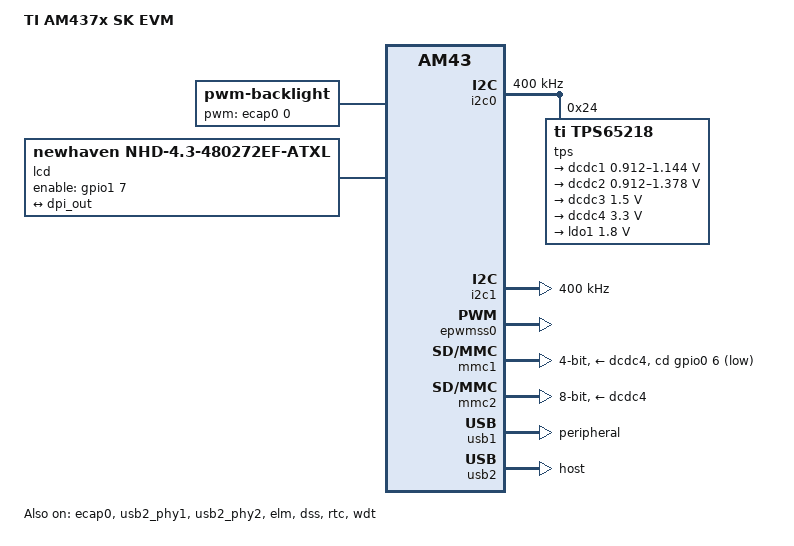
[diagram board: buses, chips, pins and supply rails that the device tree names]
/*
 * Copyright (C) 2014 Texas Instruments Incorporated - http://www.ti.com/
 *
 * This program is free software; you can redistribute it and/or modify
 * it under the terms of the GNU General Public License version 2 as
 * published by the Free Software Foundation.
 */

/* AM437x SK EVM */

/dts-v1/;

#include "am4372.dtsi"
#include <dt-bindings/pinctrl/am43xx.h>
#include <dt-bindings/pwm/pwm.h>
#include <dt-bindings/gpio/gpio.h>
#include <dt-bindings/input/input.h>

/ {
	model = "TI AM437x SK EVM";
	compatible = "ti,am437x-sk-evm","ti,am4372","ti,am43";

	aliases {
		display0 = &lcd0;
	};

	chosen {
		stdout-path = &uart0;
		tick-timer = &timer2;
	};

	backlight {
		compatible = "pwm-backlight";
		pwms = <&ecap0 0 50000 PWM_POLARITY_INVERTED>;
		brightness-levels = <0 51 53 56 62 75 101 152 255>;
		default-brightness-level = <8>;
	};


	lcd0: display {
		compatible = "newhaven,nhd-4.3-480272ef-atxl", "panel-dpi";
		label = "lcd";

		pinctrl-names = "default";
		pinctrl-0 = <&lcd_pins>;

		enable-gpios = <&gpio1 7 GPIO_ACTIVE_HIGH>;

		panel-timing {
			clock-frequency = <9000000>;
			hactive = <480>;
			vactive = <272>;
			hfront-porch = <2>;
			hback-porch = <2>;
			hsync-len = <41>;
			vfront-porch = <2>;
			vback-porch = <2>;
			vsync-len = <10>;
			hsync-active = <0>;
			vsync-active = <0>;
			de-active = <1>;
			pixelclk-active = <1>;
		};

		port {
			lcd_in: endpoint {
				remote-endpoint = <&dpi_out>;
			};
		};
	};
};

&am43xx_pinmux {

	i2c0_pins: i2c0_pins {
		pinctrl-single,pins = <
			0x188 (PIN_INPUT | SLEWCTRL_FAST | MUX_MODE0)  /* i2c0_sda.i2c0_sda */
			0x18c (PIN_INPUT | SLEWCTRL_FAST | MUX_MODE0)  /* i2c0_scl.i2c0_scl */
		>;
	};

	i2c1_pins: i2c1_pins {
		pinctrl-single,pins = <
			0x15c (PIN_INPUT | SLEWCTRL_FAST | MUX_MODE2)  /* spi0_cs0.i2c1_scl */
			0x158 (PIN_INPUT | SLEWCTRL_FAST | MUX_MODE2)  /* spi0_d1.i2c1_sda  */
		>;
	};

	mmc1_pins: pinmux_mmc1_pins {
		pinctrl-single,pins = <
			0x0f0 (PIN_INPUT | MUX_MODE0) /* mmc0_dat3.mmc0_dat3 */
			0x0f4 (PIN_INPUT | MUX_MODE0) /* mmc0_dat2.mmc0_dat2 */
			0x0f8 (PIN_INPUT | MUX_MODE0) /* mmc0_dat1.mmc0_dat1 */
			0x0fc (PIN_INPUT | MUX_MODE0) /* mmc0_dat0.mmc0_dat0 */
			0x100 (PIN_INPUT | MUX_MODE0) /* mmc0_clk.mmc0_clk */
			0x104 (PIN_INPUT | MUX_MODE0) /* mmc0_cmd.mmc0_cmd */
			0x160 (PIN_INPUT | MUX_MODE7) /* spi0_cs1.gpio0_6 */
		>;
	};

	ecap0_pins: backlight_pins {
		pinctrl-single,pins = <
			0x164 (PIN_OUTPUT | MUX_MODE0) /* eCAP0_in_PWM0_out.eCAP0_in_PWM0_out */
		>;
	};


	dss_pins: dss_pins {
		pinctrl-single,pins = <
			0x020 (PIN_OUTPUT | MUX_MODE1)	/* gpmc ad 8 -> DSS DATA 23 */
			0x024 (PIN_OUTPUT | MUX_MODE1)
			0x028 (PIN_OUTPUT | MUX_MODE1)
			0x02c (PIN_OUTPUT | MUX_MODE1)
			0x030 (PIN_OUTPUT | MUX_MODE1)
			0x034 (PIN_OUTPUT | MUX_MODE1)
			0x038 (PIN_OUTPUT | MUX_MODE1)
			0x03c (PIN_OUTPUT | MUX_MODE1)	/* gpmc ad 15 -> DSS DATA 16 */
			0x0a0 (PIN_OUTPUT | MUX_MODE0)	/* DSS DATA 0 */
			0x0a4 (PIN_OUTPUT | MUX_MODE0)
			0x0a8 (PIN_OUTPUT | MUX_MODE0)
			0x0ac (PIN_OUTPUT | MUX_MODE0)
			0x0b0 (PIN_OUTPUT | MUX_MODE0)
			0x0b4 (PIN_OUTPUT | MUX_MODE0)
			0x0b8 (PIN_OUTPUT | MUX_MODE0)
			0x0bc (PIN_OUTPUT | MUX_MODE0)
			0x0c0 (PIN_OUTPUT | MUX_MODE0)
			0x0c4 (PIN_OUTPUT | MUX_MODE0)
			0x0c8 (PIN_OUTPUT | MUX_MODE0)
			0x0cc (PIN_OUTPUT | MUX_MODE0)
			0x0d0 (PIN_OUTPUT | MUX_MODE0)
			0x0d4 (PIN_OUTPUT | MUX_MODE0)
			0x0d8 (PIN_OUTPUT | MUX_MODE0)
			0x0dc (PIN_OUTPUT | MUX_MODE0)	/* DSS DATA 15 */
			0x0e0 (PIN_OUTPUT | MUX_MODE0)	/* DSS VSYNC */
			0x0e4 (PIN_OUTPUT | MUX_MODE0)	/* DSS HSYNC */
			0x0e8 (PIN_OUTPUT | MUX_MODE0)	/* DSS PCLK */
			0x0ec (PIN_OUTPUT | MUX_MODE0)	/* DSS AC BIAS EN */

		>;
	};


	lcd_pins: lcd_pins {
		pinctrl-single,pins = <
			0x1c (PIN_OUTPUT_PULLDOWN | MUX_MODE7) /* gpcm_ad7.gpio1_7 */
		>;
	};

	usb1_pins: usb1_pins {
		pinctrl-single,pins = <
			0x2c0 (PIN_OUTPUT | MUX_MODE0) /* usb0_drvvbus.usb0_drvvbus */
		>;
	};

	usb2_pins: usb2_pins {
		pinctrl-single,pins = <
			0x2c4 (PIN_OUTPUT | MUX_MODE0) /* usb0_drvvbus.usb0_drvvbus */
		>;
	};
};

&i2c0 {
	status = "okay";
	pinctrl-names = "default";
	pinctrl-0 = <&i2c0_pins>;
	clock-frequency = <400000>;

	tps@24 {
		compatible = "ti,tps65218";
		reg = <0x24>;
		interrupts = <GIC_SPI 7 IRQ_TYPE_LEVEL_HIGH>;
		interrupt-controller;
		#interrupt-cells = <2>;

		dcdc1: regulator-dcdc1 {
			compatible = "ti,tps65218-dcdc1";
			/* VDD_CORE limits min of OPP50 and max of OPP100 */
			regulator-name = "vdd_core";
			regulator-min-microvolt = <912000>;
			regulator-max-microvolt = <1144000>;
			regulator-boot-on;
			regulator-always-on;
		};

		dcdc2: regulator-dcdc2 {
			compatible = "ti,tps65218-dcdc2";
			/* VDD_MPU limits min of OPP50 and max of OPP_NITRO */
			regulator-name = "vdd_mpu";
			regulator-min-microvolt = <912000>;
			regulator-max-microvolt = <1378000>;
			regulator-boot-on;
			regulator-always-on;
		};

		dcdc3: regulator-dcdc3 {
			compatible = "ti,tps65218-dcdc3";
			regulator-name = "vdds_ddr";
			regulator-min-microvolt = <1500000>;
			regulator-max-microvolt = <1500000>;
			regulator-boot-on;
			regulator-always-on;
		};

		dcdc4: regulator-dcdc4 {
			compatible = "ti,tps65218-dcdc4";
			regulator-name = "v3_3d";
			regulator-min-microvolt = <3300000>;
			regulator-max-microvolt = <3300000>;
			regulator-boot-on;
			regulator-always-on;
		};

		ldo1: regulator-ldo1 {
			compatible = "ti,tps65218-ldo1";
			regulator-name = "v1_8d";
			regulator-min-microvolt = <1800000>;
			regulator-max-microvolt = <1800000>;
			regulator-boot-on;
			regulator-always-on;
		};

		power-button {
			compatible = "ti,tps65218-pwrbutton";
			status = "okay";
			interrupts = <3 IRQ_TYPE_EDGE_BOTH>;
		};
	};

};

&i2c1 {
	status = "okay";
	pinctrl-names = "default";
	pinctrl-0 = <&i2c1_pins>;
	clock-frequency = <400000>;
};

&epwmss0 {
	status = "okay";
};

&ecap0 {
	status = "okay";
	pinctrl-names = "default";
	pinctrl-0 = <&ecap0_pins>;
};

&gpio0 {
	status = "okay";
};

&gpio1 {
	status = "okay";
};

&gpio5 {
	status = "okay";
};

&mmc1 {
	status = "okay";
	pinctrl-names = "default";
	pinctrl-0 = <&mmc1_pins>;

	vmmc-supply = <&dcdc4>;
	bus-width = <4>;
	cd-gpios = <&gpio0 6 GPIO_ACTIVE_LOW>;
};
#if 1
&mmc2 {
        /*
         * When enabling eMMC, disable GPMC/NAND and set
         * SelEMMCorNAND to output-high
         */
        status = "okay";
        vmmc-supply = <&dcdc4>;
        bus-width = <8>;
        pinctrl-names = "default", "sleep";
//      pinctrl-0 = <&emmc_pins_default>;
//      pinctrl-1 = <&emmc_pins_sleep>;
        ti,non-removable;
};
#endif
&usb2_phy1 {
	status = "okay";
};

&usb1 {
	dr_mode = "peripheral";
	status = "okay";
	pinctrl-names = "default";
	pinctrl-0 = <&usb1_pins>;
};

&usb2_phy2 {
	status = "okay";
};

&usb2 {
	dr_mode = "host";
	status = "okay";
	pinctrl-names = "default";
	pinctrl-0 = <&usb2_pins>;
};

&elm {
	status = "okay";
};


&dss {
	status = "okay";

	pinctrl-names = "default";
	pinctrl-0 = <&dss_pins>;

	port {
		dpi_out: endpoint@0 {
			remote-endpoint = <&lcd_in>;
			data-lines = <24>;
		};
	};
};

&rtc {
	status = "okay";
};

&wdt {
	status = "okay";
};

&cpu {
	cpu0-supply = <&dcdc2>;
};

